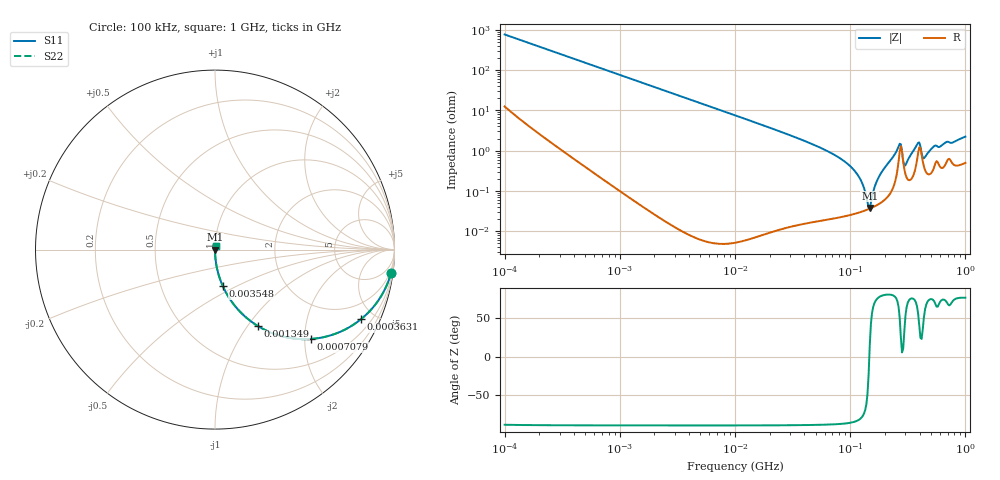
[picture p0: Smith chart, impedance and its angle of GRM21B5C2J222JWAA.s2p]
!Murata Part Number: GRM21B5C2J222JWAA
!These Parameters are Measured in Series Mode Connection
!Data Generated on Mar 30, 2021
!  o--ll--o
!Port1  Port2
!  o------o
!Operation Temp=25[degC], DC Bias Voltage=0[V]
!Freq. Start=100[kHz] Stop=1000[MHz] 401[Steps]
# Hz S RI R 50
!Freq.(Hz) S11(Real) S11(Imag) S21(Real) S21(Imag) S12(Real) S12(Imag) S22(Real) S22(Imag)
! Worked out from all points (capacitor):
!   401 points, 100 kHz to 1 GHz, reference 50 ohm
!   read as one part in series: C = 2.09 nF near 104.7 kHz
!   lowest |Z| = 37.9 mohm at 147.9 MHz (marker M1)
!   series resonance near 146.6 MHz, so ESL is about 560 pH
!   S11 on the Smith chart (normalised r, x): 100 kHz: 1, -15; 363.1 kHz: 1.02, -4.18; 707.9 kHz: 1.00, -2.14; 1.349 MHz: 1.00, -1.12; 3.548 MHz: 1.00, -0.43; 1 GHz: 1.01, +0.04
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100000  0.981 -0.1286  0.019 0.1286  0.019 0.1286  0.981 -0.1286
363078  0.8128 -0.3883  0.1872 0.3883  0.1872 0.3883  0.8128 -0.3883
467735  0.724 -0.4456  0.276 0.4456  0.276 0.4456  0.724 -0.4456
707946  0.5344 -0.4979  0.4656 0.4979  0.4656 0.4979  0.5344 -0.4979
1348963  0.2404 -0.4269  0.7596 0.4269  0.7596 0.4269  0.2404 -0.4269
2187762  0.1074 -0.3093  0.8926 0.3093  0.8926 0.3093  0.1074 -0.3093
3548134  0.0437 -0.2043  0.9563 0.2043  0.9563 0.2043  0.0437 -0.2043
1e7  0.00571 -0.075  0.9943 0.075  0.9943 0.075  0.00571 -0.075
4.677351e7  0.00038 -0.0146  0.9996 0.0146  0.9996 0.0146  0.00038 -0.0146
1.047129e8  0.000276 -0.00362  0.9997 0.00362  0.9997 0.00362  0.000276 -0.00362
1.230269e8  0.000304 -0.00188  0.9997 0.00188  0.9997 0.00188  0.000304 -0.00188
1.412538e8  0.000346 -0.000401  0.9997 0.000401  0.9997 0.000401  0.000346 -0.000401
1.479108e8  0.000365 0.0001  0.9996 -0.0001  0.9996 -0.0001  0.000365 0.0001
1.737801e8  0.000463 0.00194  0.9995 -0.00194  0.9995 -0.00194  0.000463 0.00194
2.187762e8  0.000839 0.00525  0.9992 -0.00525  0.9992 -0.00525  0.000839 0.00525
2.630268e8  0.00549 0.0114  0.9945 -0.0114  0.9945 -0.0114  0.00549 0.0114
2.754229e8  0.0129 0.00588  0.9871 -0.00588  0.9871 -0.00588  0.0129 0.00588
3.019952e8  0.00259 0.00353  0.9974 -0.00353  0.9974 -0.00353  0.00259 0.00353
3.801894e8  0.00594 0.0128  0.9941 -0.0128  0.9941 -0.0128  0.00594 0.0128
4.466836e8  0.00331 0.00613  0.9967 -0.00613  0.9967 -0.00613  0.00331 0.00613
5.370318e8  0.00413 0.0123  0.9959 -0.0123  0.9959 -0.0123  0.00413 0.0123
1e9  0.00543 0.0215  0.9946 -0.0215  0.9946 -0.0215  0.00543 0.0215
